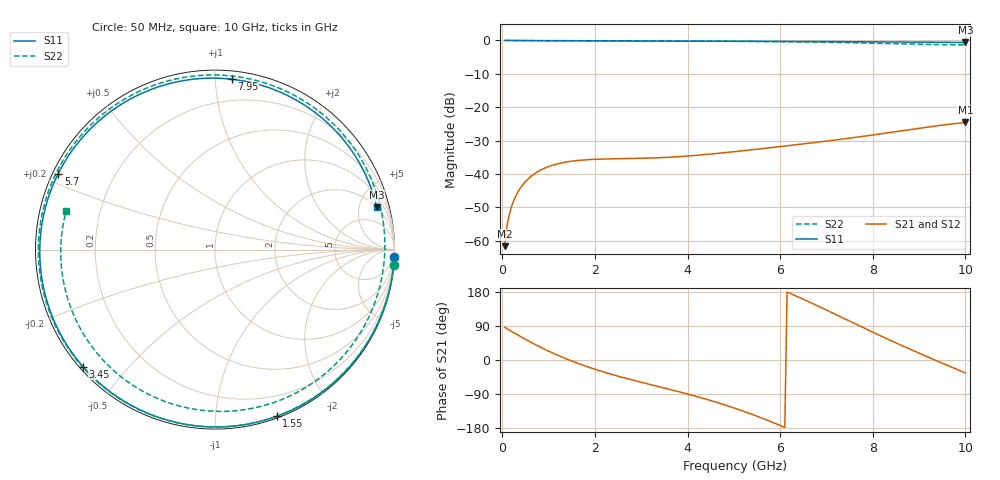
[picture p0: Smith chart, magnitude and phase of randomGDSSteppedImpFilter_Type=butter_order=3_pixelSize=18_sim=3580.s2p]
! freq	dB(S11)	phase(S11)	dB(S12)	phase(S12)
!  dB(S21)	phase(S21)	dB(S22)	phase(S22)
!S-par simulation data
#  GHz  S  DB  R 50
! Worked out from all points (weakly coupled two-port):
!   200 points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, 50 MHz to 10 GHz, reference 50 ohm
!   highest |S21| = -24.59 dB at 10 GHz (marker M1); lowest = -61.7 dB at 50 MHz (marker M2)
!   lowest |S11| = -0.6 dB at 10 GHz (marker M3), VSWR 28.32, Z = 102 + j362 ohm
!   |S11| at or under -10 dB: nowhere
!   |S22| runs from -1.3 to 0.0 dB; largest |S21 - S12| = 0
!   S11 on the Smith chart (normalised r, x): 50 MHz: 0, -48; 1.55 GHz: 0.01, -1.44; 3.45 GHz: 0.01, -0.38; 5.7 GHz: 0.02, +0.23; 7.95 GHz: 0.05, +1.10; 10 GHz: 2.03, +7.25
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0.05  -0.00 -2.4  -61.68 86.3  -61.68 86.3  -0.00 -4.9
0.1  -0.01 -4.7  -55.68 82.6  -55.68 82.6  -0.01 -9.8
0.2  -0.01 -9.5  -49.76 75.4  -49.76 75.4  -0.03 -19.5
0.45  -0.03 -21.1  -43.13 57.9  -43.13 57.9  -0.06 -42.9
0.95  -0.06 -43.9  -38.08 26.2  -38.08 26.2  -0.09 -84.6
1.55  -0.08 -69.6  -36.10 -5.1  -36.10 -5.1  -0.12 -124.4
1.75  -0.09 -77.8  -35.83 -14.1  -35.83 -14.1  -0.12 -135.7
2.5  -0.12 -106.3  -35.47 -42.7  -35.47 -42.7  -0.13 -172.0
3.4  -0.15 -136.8  -35.16 -70.9  -35.16 -70.9  -0.16 150.7
3.45  -0.15 -138.4  -35.13 -72.4  -35.13 -72.4  -0.16 148.7
4.3  -0.18 -164.7  -34.31 -99.9  -34.31 -99.9  -0.20 114.5
5.05  -0.22 173.2  -33.29 -128.5  -33.29 -128.5  -0.25 82.6
5.7  -0.26 154.1  -32.29 -157.8  -32.29 -157.8  -0.32 52.5
6.25  -0.29 137.8  -31.42 174.0  -31.42 174.0  -0.40 24.9
6.7  -0.32 124.1  -30.68 149.1  -30.68 149.1  -0.48 0.9
7.3  -0.36 105.4  -29.65 114.3  -29.65 114.3  -0.61 -32.7
7.95  -0.41 84.4  -28.44 76.4  -28.44 76.4  -0.80 -70.4
8.35  -0.44 71.0  -27.64 53.6  -27.64 53.6  -0.93 -94.0
8.8  -0.48 55.7  -26.73 28.8  -26.73 28.8  -1.07 -120.9
9.25  -0.52 40.3  -25.84 4.7  -25.84 4.7  -1.20 -148.1
9.65  -0.57 26.5  -25.12 -16.1  -25.12 -16.1  -1.29 -172.6
10  -0.61 14.6  -24.59 -34.1  -24.59 -34.1  -1.34 165.5
